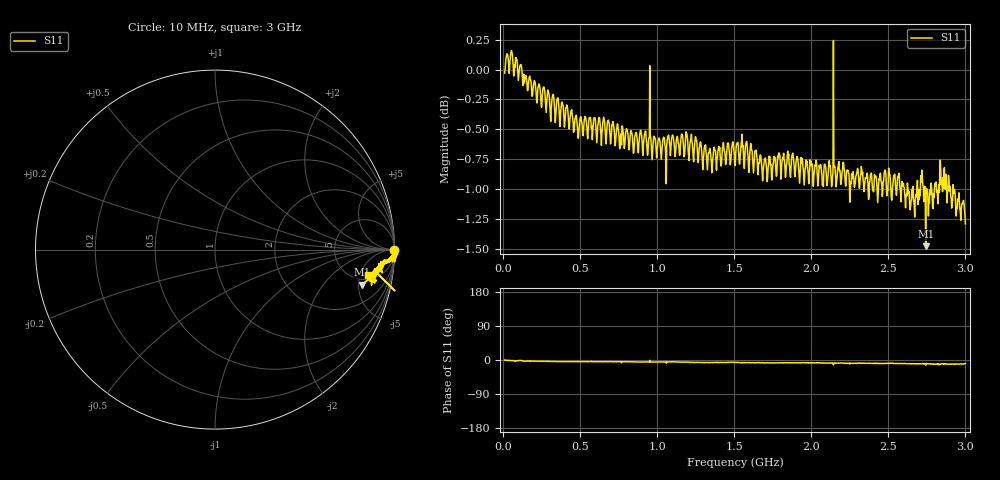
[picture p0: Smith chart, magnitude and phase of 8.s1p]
# HZ S RI R 50
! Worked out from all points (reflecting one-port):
!   1010 points, 10 MHz to 3 GHz, reference 50 ohm
!   lowest |S11| = -1.5 dB at 2.742 GHz (marker M1), VSWR 11.77, Z = 205 - j278 ohm
!   phase of S11 starts at -0 deg and turns -9 deg over the sweep
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1e7  0.9965 -0.00291
4.259663e7  1.003 -0.0199
8.408325e7  1.011 -0.0369
1.166799e8  1.005 -0.0225
1.522398e8  0.9885 -0.0502
3.863429e8  0.9647 -0.0699
7.597225e8  0.9275 -0.0732
1.133102e9  0.932 -0.0839
1.322755e9  0.9094 -0.0998
1.506482e9  0.9059 -0.1019
1.734658e9  0.9039 -0.1211
1.879861e9  0.9153 -0.1162
2.045808e9  0.8919 -0.1092
2.158414e9  0.8918 -0.1306
2.161378e9  0.8844 -0.1244
2.185084e9  0.8986 -0.1278
2.253241e9  0.8803 -0.129
2.321397e9  0.8924 -0.1348
2.451784e9  0.8869 -0.1438
2.514014e9  0.8867 -0.1323
2.62662e9  0.8794 -0.1536
2.676997e9  0.873 -0.1473
2.72441e9  0.8824 -0.1448
2.74219e9  0.8205 -0.1951
2.819237e9  0.8716 -0.1532
2.84887e9  0.8823 -0.1473
2.91999e9  0.8786 -0.1709
3e9  0.85 -0.1415
